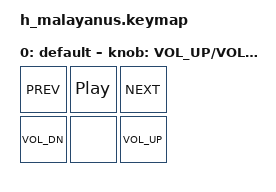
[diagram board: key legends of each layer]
/* Copyright (c) 2020 The ZMK Contributors
 *
 * SPDX-License-Identifier: MIT
 */

#include <behaviors.dtsi>
#include <dt-bindings/zmk/keys.h>
#include <dt-bindings/zmk/bt.h>

/ {
	sensors {
		compatible = "zmk,keymap-sensors";
		sensors = <&encoder_1>;
	};

    keymap {
        compatible = "zmk,keymap";

        default_layer {
            label = "default";
			sensor-bindings = <&inc_dec_kp C_VOLUME_UP C_VOLUME_DOWN>;
            bindings = <
    &kp C_PREV   &kp C_PP &kp C_NEXT
    &kp C_VOL_DN &none &kp C_VOL_UP
            >;
        };
    };
};
